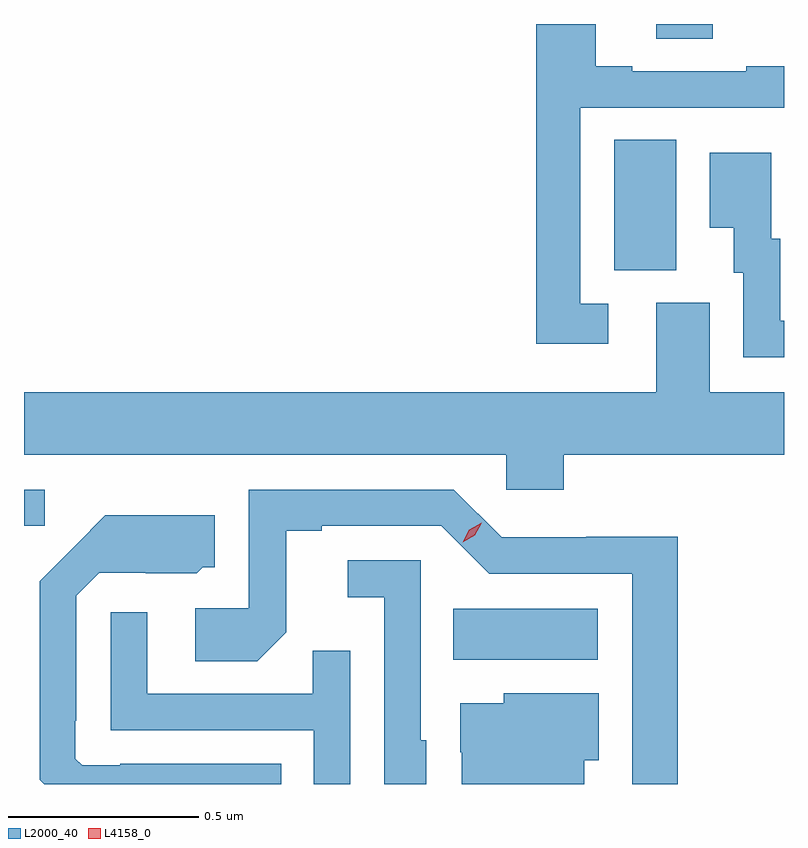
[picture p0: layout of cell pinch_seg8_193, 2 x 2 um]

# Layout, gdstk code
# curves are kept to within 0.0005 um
import gdstk
lib = gdstk.Library(unit=1e-6, precision=1e-09)
def R(c, l, rs):  # rectangles x0, y0, x1, y1
    for r in rs: c.add(gdstk.rectangle(r[:2], r[2:], *l))
def P(c, l, *ps):  # polygons
    for p in ps: c.add(gdstk.Polygon(p, *l))
L2000_40 = (2000, 40)
L4158_0 = (4158, 0)

pinch_seg8_193 = lib.new_cell('pinch_seg8_193')
R(pinch_seg8_193, L2000_40, [(641.086,1159.916,641.467,1160.05), (639.957,1160.268,640.012,1160.364), (641.51,1160.941,641.674,1161.284), (641.621,1161.55,641.769,1161.589)])
P(pinch_seg8_193, L2000_40, [(641.494,1160.853),(641.421,1160.853),(641.421,1161.369),(641.957,1161.369),(641.957,1161.478),(641.857,1161.478),(641.857,1161.465),(641.557,1161.465),(641.557,1161.478),(641.461,1161.478),(641.461,1161.589),(641.305,1161.589),(641.305,1160.748),(641.494,1160.748)],
  [(641.957,1160.808),(641.947,1160.808),(641.947,1161.024),(641.923,1161.024),(641.923,1161.25),(641.762,1161.25),(641.762,1161.053),(641.825,1161.053),(641.825,1160.934),(641.85,1160.934),(641.85,1160.712),(641.957,1160.712)],
  [(641.378,1160.456),(641.957,1160.456),(641.957,1160.62),(641.761,1160.62),(641.761,1160.856),(641.621,1160.856),(641.621,1160.62),(639.957,1160.62),(639.957,1160.456),(641.226,1160.456),(641.226,1160.363),(641.378,1160.363)],
  [(641.677,1160.24),(641.436,1160.24),(641.436,1160.238),(641.214,1160.238),(641.088,1160.364),(640.548,1160.364),(640.548,1160.052),(640.407,1160.052),(640.407,1159.912),(640.571,1159.912),(640.647,1159.988),(640.647,1160.256),(640.741,1160.256),(640.741,1160.268),(641.055,1160.268),(641.181,1160.142),(641.558,1160.142),(641.558,1159.589),(641.677,1159.589)],
  [(640.634,1159.642),(640.21,1159.642),(640.21,1159.638),(640.11,1159.638),(640.092,1159.656),(640.092,1159.756),(640.095,1159.756),(640.095,1160.085),(640.155,1160.145),(640.278,1160.145),(640.278,1160.144),(640.412,1160.144),(640.428,1160.16),(640.459,1160.16),(640.459,1160.296),(640.171,1160.296),(639.999,1160.122),(639.999,1159.6),(640.01,1159.589),(640.634,1159.589)],
  [(641.016,1159.704),(641.001,1159.704),(641.001,1160.178),(640.809,1160.178),(640.809,1160.081),(640.905,1160.081),(640.905,1159.589),(641.016,1159.589)],
  [(640.815,1159.94),(640.717,1159.94),(640.717,1159.827),(640.281,1159.827),(640.281,1160.041),(640.185,1160.041),(640.185,1159.731),(640.719,1159.731),(640.719,1159.589),(640.815,1159.589)],
  [(641.431,1159.652),(641.47,1159.652),(641.47,1159.828),(641.22,1159.828),(641.22,1159.801),(641.105,1159.801),(641.105,1159.672),(641.109,1159.672),(641.109,1159.589),(641.431,1159.589)])
P(pinch_seg8_193, L4158_0, [(641.111,1160.225),(641.111,1160.225),(641.129,1160.258),(641.161,1160.276),(641.161,1160.276),(641.161,1160.276),(641.143,1160.244),(641.111,1160.225)])

lib.write_gds('pinch_seg8_193.gds')
